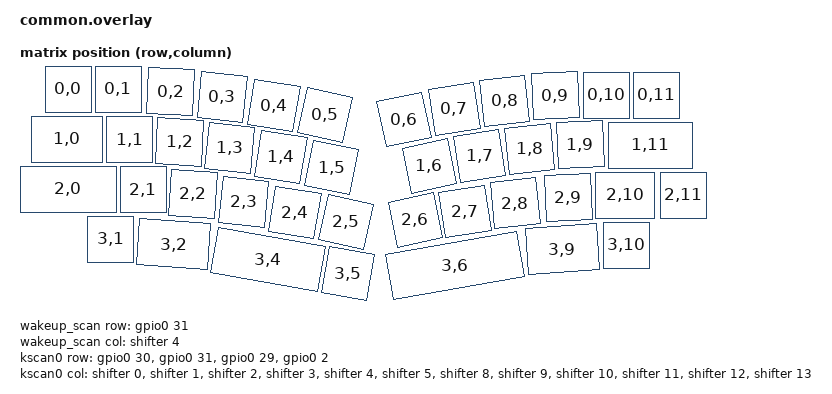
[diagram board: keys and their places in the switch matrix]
#include <dt-bindings/led/led.h>

&pinctrl {
    spi0_default: spi0_default {
        group1 {
            psels = <NRF_PSEL(SPIM_SCK,  1, 13)>,
                    <NRF_PSEL(SPIM_MOSI, 0, 28)>;
        };
    };

    spi0_sleep: spi0_sleep {
        group1 {
            psels = <NRF_PSEL(SPIM_SCK,  1, 13)>,
                    <NRF_PSEL(SPIM_MOSI, 0, 28)>;
            low-power-enable;
        };
    };

    spi3_default: spi3_default {
        group1 {
            psels = <NRF_PSEL(SPIM_MOSI, 0, 6)>;
        };
    };

    spi3_sleep: spi3_sleep {
        group1 {
            psels = <NRF_PSEL(SPIM_MOSI, 0, 6)>;
            low-power-enable;
        };
    };
};

&spi3 {
    compatible = "nordic,nrf-spim";
    status = "okay";

    pinctrl-0 = <&spi3_default>;
    pinctrl-1 = <&spi3_sleep>;
    pinctrl-names = "default", "sleep";

    led_strip: ws2812@0 {
        compatible = "worldsemi,ws2812-spi";

        /* SPI */
        reg = <0>; /* ignored, but necessary for SPI bindings */
        spi-max-frequency = <4000000>;

        /* WS2812 */
        chain-length = <1>; /* arbitrary; change at will */
        spi-one-frame = <0x70>;
        spi-zero-frame = <0x40>;

        color-mapping = <LED_COLOR_ID_GREEN LED_COLOR_ID_RED LED_COLOR_ID_BLUE>;
    };
};

&spi0 {
    compatible = "nordic,nrf-spim";
    pinctrl-0 = <&spi0_default>;
    pinctrl-1 = <&spi0_sleep>;
    pinctrl-names = "default", "sleep";
    status = "okay";
    cs-gpios = <&gpio1 0 GPIO_ACTIVE_LOW>;
    shifter: 595@0 {
        compatible = "zmk,gpio-595";
        status = "okay";
        gpio-controller;
        spi-max-frequency = <8000000>; //default 400K to 8M, for NRF52840, spim3 max 32M, other 8M
        reg = <0>;
        #gpio-cells = <2>;
        ngpios = <16>;
    };
};

/ {
    aliases {
        indicator-r = &led0;
        indicator-g = &led1;
        indicator-b = &led2;
    };
    leds {
        /* P1.11 R, P1.10 G, P0.03 B */
        compatible = "gpio-leds";
        status = "okay";
        led0: led_0 { gpios = <&gpio1 11 GPIO_ACTIVE_LOW>; }; //r
        led1: led_1 { gpios = <&gpio1 10 GPIO_ACTIVE_LOW>; }; //g
        led2: led_2 { gpios = <&gpio0  3 GPIO_ACTIVE_LOW>; }; //b
    };

    /* soft off */
    wakeup_scan: wakeup_scan {
        compatible = "zmk,kscan-gpio-matrix";
        wakeup-source;
        diode-direction = "col2row";
        // KEY F at RC(1,4)
        col-gpios = <&shifter 4 GPIO_ACTIVE_LOW>;
        row-gpios = <&gpio0 31 (GPIO_ACTIVE_LOW | GPIO_PULL_UP)>;
    };
    soft_off_wakers {
        compatible = "zmk,soft-off-wakeup-sources";
        wakeup-sources = <&wakeup_scan>;
    };
    /* end of soft-off */

    chosen {
        zmk,underglow = &led_strip;
        zmk,battery = &vbatt;
        zmk,kscan = &kscan0;
        zmk,physical-layout = &hhkb_layout;
    };

    vbatt: vbatt {
        compatible = "zmk,battery-voltage-divider";
        io-channels = <&adc 3>;
        output-ohms = <2000000>;
        full-ohms = <(2000000 + 820000)>;
    };

    kscan0: kscan_keys {
        compatible = "zmk,kscan-gpio-matrix";
        wakeup-source;
        diode-direction = "col2row";
        col-gpios
            = <&shifter 0 GPIO_ACTIVE_LOW>
            , <&shifter 1 GPIO_ACTIVE_LOW>
            , <&shifter 2 GPIO_ACTIVE_LOW>
            , <&shifter 3 GPIO_ACTIVE_LOW>
            , <&shifter 4 GPIO_ACTIVE_LOW>
            , <&shifter 5 GPIO_ACTIVE_LOW>
            , <&shifter 8 GPIO_ACTIVE_LOW>
            , <&shifter 9 GPIO_ACTIVE_LOW>
            , <&shifter 10 GPIO_ACTIVE_LOW>
            , <&shifter 11 GPIO_ACTIVE_LOW>
            , <&shifter 12 GPIO_ACTIVE_LOW>
            , <&shifter 13 GPIO_ACTIVE_LOW>
            ;
        
        row-gpios
            = <&gpio0 30 (GPIO_ACTIVE_LOW | GPIO_PULL_UP)>
            , <&gpio0 31 (GPIO_ACTIVE_LOW | GPIO_PULL_UP)>
            , <&gpio0 29 (GPIO_ACTIVE_LOW | GPIO_PULL_UP)>
            , <&gpio0  2 (GPIO_ACTIVE_LOW | GPIO_PULL_UP)>
            ;
    };
    
    matrix_transform_all: matrix_transform_all {
        compatible = "zmk,matrix-transform";
        columns = <12>;
        rows = <4>;
        map = <
RC(0,0) RC(0,1) RC(0,2) RC(0,3) RC(0,4) RC(0,5)       RC(0,6) RC(0,7) RC(0,8) RC(0,9) RC(0,10) RC(0,11)
RC(1,0)   RC(1,1) RC(1,2) RC(1,3) RC(1,4) RC(1,5)      RC(1,6) RC(1,7) RC(1,8) RC(1,9)     RC(1,11)
RC(2,0)    RC(2,1) RC(2,2) RC(2,3) RC(2,4) RC(2,5)    RC(2,6) RC(2,7) RC(2,8) RC(2,9) RC(2,10) RC(2,11)
       RC(3,1) RC(3,2)         RC(3,4)   RC(3,5)          RC(3,6)            RC(3,9)   RC(3,10) 
        >;
    };
};

//Multi Layouts Defines
                    //                     w   h    x    y     rot    rx    ry


// Base Layout with all keys in matrix.
/ {
    chosen {
        zmk,physical-layout = &layout_all;
    };
    layout_all: layout_all {
        compatible = "zmk,physical-layout";
        display-name = "Default";
        transform = <&matrix_transform_all>;

        keys  //                     w   h    x    y     rot    rx    ry
            = <&key_physical_attrs 100 100   50    0       0     0     0>
            , <&key_physical_attrs 100 100  150    0       0     0     0>
            , <&key_physical_attrs 100 100  250    5     300   300   157>
            , <&key_physical_attrs 100 100  350   15     600   400   150>
            , <&key_physical_attrs 100 100  450   20     900   425   150>
            , <&key_physical_attrs 100 100  550   35    1200   525   160>
            , <&key_physical_attrs 100 100  727   56 (-1200)   800   130>
            , <&key_physical_attrs 100 100  827   36  (-900)   900   115>
            , <&key_physical_attrs 100 100  927   21  (-600)  1000   110>
            , <&key_physical_attrs 100 100 1027   12  (-300)  1100   105>
            , <&key_physical_attrs 100 100 1127   12       0     0     0>
            , <&key_physical_attrs 100 100 1227   12       0     0     0>
            , <&key_physical_attrs 150 100   23  100       0     0     0>
            , <&key_physical_attrs 100 100  173  101       0   225   251>
            , <&key_physical_attrs 100 100  273  105     300   300   157>
            , <&key_physical_attrs 100 100  375  115     600   400   150>
            , <&key_physical_attrs 100 100  480  120     900   425   150>
            , <&key_physical_attrs 100 100  585  135    1200   525   160>
            , <&key_physical_attrs 100 100  757  157 (-1200)   800   130>
            , <&key_physical_attrs 100 100  862  137  (-900)   900   115>
            , <&key_physical_attrs 100 100  967  122  (-600)  1000   110>
            , <&key_physical_attrs 100 100 1072  112  (-300)  1100   105>
            , <&key_physical_attrs 175 100 1177  112       0     0     0>
            , <&key_physical_attrs 200 100    0  200       0     0     0>
            , <&key_physical_attrs 100 100  200  200     100   200   300>
            , <&key_physical_attrs 100 100  305  207     300   300   157>
            , <&key_physical_attrs 100 100  414  220     600   400   150>
            , <&key_physical_attrs 100 100  525  225     900   425   150>
            , <&key_physical_attrs 100 100  635  235    1200   525   160>
            , <&key_physical_attrs 100 100  707  257 (-1200)   800   130>
            , <&key_physical_attrs 100 100  816  242  (-900)   900   115>
            , <&key_physical_attrs 100 100  927  227  (-600)  1000   110>
            , <&key_physical_attrs 100 100 1042  217  (-300)  1100   105>
            , <&key_physical_attrs 125 100 1152  212       0     0     0>
            , <&key_physical_attrs 100 100 1280  212       0     0     0>
            , <&key_physical_attrs 100 100  135  300       0     0     0>
            , <&key_physical_attrs 150 100  233  305     400   228   405>
            , <&key_physical_attrs 225 100  380  315    1000   350   420>
            , <&key_physical_attrs 100 100  605  315    1000   350   420>
            , <&key_physical_attrs 275 100  745  372 (-1000)   768   463>
            , <&key_physical_attrs 150 100 1017  327  (-400)  1000   420>
            , <&key_physical_attrs 100 100 1167  312       0     0     0>
            ;
    };
};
